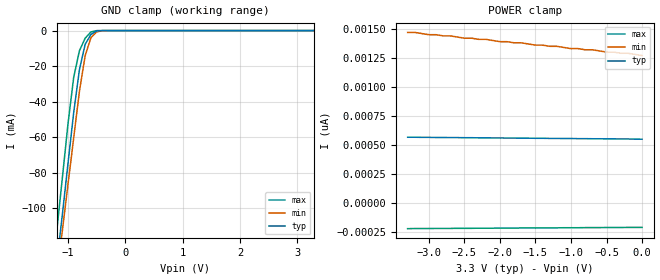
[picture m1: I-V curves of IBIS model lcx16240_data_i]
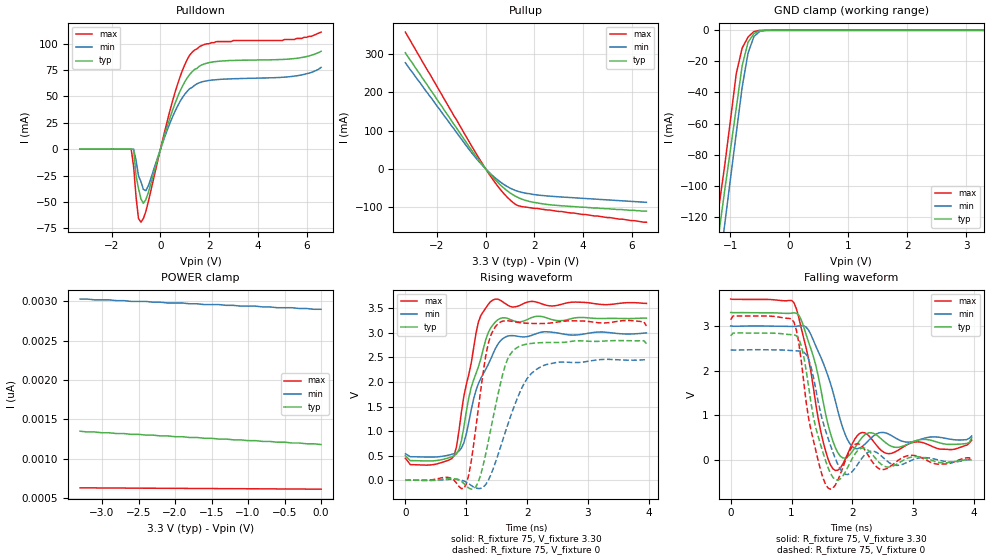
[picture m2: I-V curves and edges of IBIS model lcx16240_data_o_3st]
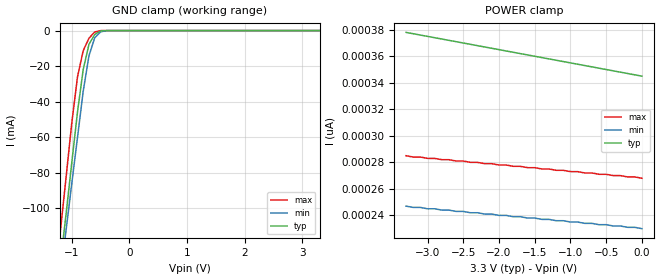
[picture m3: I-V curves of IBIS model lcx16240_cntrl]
|   ON Semiconductor Corporation
|   IBIS Model of 74LCX16240DT
|   Low Voltage CMOS 16-Bit Buffer
|   TSSOP_48 (DT) Package Type
[IBIS Ver]   3.2
[Comment Char]   |_char
[File name]   74lcx16240dt_c300.ibs
[File Rev]   1.0
[Date]   05/26/04
[Source]
From lab measurements at ON Semiconductor
[Notes]
Created by Duane Mattheisen
Modeling Support Engineer
| This model represents the 74LCX16240DT where 3.0<= Vcc =< 3.6
[Disclaimer]
ON Semiconductor Corporation hereby grants
the user of this IBIS model a license to use this IBIS
model under the following terms. This license in non-exclusive
and non-transferable. Before using this IBIS model. After reading
the terms and conditions of this license, the user either must accept
these terms, or the IBIS model should be returned to ON within 30 days.
     The user is hereby granted a license to use the
IBIS model. This shall not be construed as a right to sell, or otherwise
profit either by leasing or renting this software.
     The user may modify the IBIS model to suit his specific applications
but rights to derivative works and such modifications shall belong to
ON Semiconductor.
     This IBIS model is provided on an "as is" basis. ON Semiconductor
makes absolutely no warranty with respect to the information contained
herein. By use of this IBIS model, the user assumes full risk as to the
quality and suitability of the model to his particular use, and by using
this model assumes the entire risk. Under all circumstances the user shall
not hold ON Semiconductor liable in any way for the results obtained. ON
Semiconductor reserves the right to make to improve the model for reliability,
function, or design. ON Semiconductor does not convey any license under patent
rights or any other intellectual property rights, including those of third
parties.
ON Semiconductor is not obligated to provide maintenance or support
for the licensed IBIS model.
Cont ON at ATTN:LOGIC APPLICATIONS/IBIS MODEL.
5005 E. McDowell Road, Phoenix AZ 85008
[Copyright]
(c) 2002 ON Semiconductor Corp.
[Component]   74LCX16240
Si_location Pin
Timing_location Pin
[Manufacturer]   ON Semiconductor Corp.
[Package]
R_pkg   130m   100m   140m
L_pkg   3.06n   1.37n   3.57n
C_pkg   0.15p   0.10p   0.20p
[Pin] signal_name   model_name   R_pin   L_pin   C_pin
1   BarOE1   lcx16240_cntrl   140m   3.56n   .2p
2   BarO0   lcx16240_data_o_3st  130m   3.34n   .15p
3   BarO1   lcx16240_data_o_3st  130m   3.07n   .15p
4   GND   GND   130m   2.62n   .13p
5   BarO2   lcx16240_data_o_3st  120m   2.23n   .1p
6   BarO3   lcx16240_data_o_3st  120m   1.77n   .1p
7   VCC   POWER   110m   1.65n   .1p
8   BarO4   lcx16240_data_o_3st  100m   1.59n   .1p
9   BarO5   lcx16240_data_o_3st  100m   1.53n   .1p
10   GND   GND   100m   1.49n   .1p
11   BarO6   lcx16240_data_o_3st  100m   1.44n   .1p
12   BarO7   lcx16240_data_o_3st  100m   1.36n   .1p
13   BarO8   lcx16240_data_o_3st  100m   1.37n   .1p
14   BarO9   lcx16240_data_o_3st  100m   1.44n   .1p
15   GND   GND   100m   1.48n   .1p
16   BarO10   lcx16240_data_o_3st  100m   1.54n   .1p
17   BarO11   lcx16240_data_o_3st  100m   1.58n   .1p
18   VCC   POWER   110m   1.65n   .1p
19   BarO12   lcx16240_data_o_3st  120m   1.76n   .1p
20   BarO13   lcx16240_data_o_3st  120m   2.22n   .1p
21   GND   GND   130m   2.62n   .12p
22   BarO14   lcx16240_data_o_3st  130m   3.05n   .15p
23   BarO15   lcx16240_data_o_3st  130m   3.34n   .15p
24   BarOE4   lcx16240_cntrl   140m   3.57n   .2p
25   BarOE3   lcx16240_cntrl   140m   3.56n   .2p
26   D15   lcx16240_data_i   130m   3.34n   .25p
27   D14   lcx16240_data_i   130m   3.06n   .15p
28   GND   GND   130m   2.63n   .12p
29   D13   lcx16240_data_i   120m   2.23n   .1p
30   D12   lcx16240_data_i   120m   1.76n   .1p
31   VCC   POWER   110m   1.66n   .1p
32   D11   lcx16240_data_i   100m   1.59n   .1p
33   D10   lcx16240_data_i   100m   1.53n   .1p
34   GND   GND   100m   1.49n   .1p
35   D9   lcx16240_data_i   100m   1.45n   .1p
36   D8   lcx16240_data_i   100m   1.37n   .1p
37   D7   lcx16240_data_i   100m   1.37n   .1p
38   D6   lcx16240_data_i   100m   1.43n   .1p
39   GND   GND   100m   1.49n   .1p
40   D5   lcx16240_data_i   100m   1.54n   .1p
41   D4   lcx16240_data_i   100m   1.58n   .1p
42   VCC   POWER   110m   1.65n   .1p
43   D3   lcx16240_data_i   120m   1.76n   .1p
44   D2   lcx16240_data_i   120m   2.22n   .1p
45   GND   GND   130m   2.62n   .12p
46   D1   lcx16240_data_i   130m   3.05n   .15p
47   D0   lcx16240_data_i   130m   3.34n   .25p
48   BarOE2   lcx16240_cntrl   140m   3.58n   .2p
| Models and submodels in the file (3): lcx16240_data_i (Input), lcx16240_data_o_3st (3-state), lcx16240_cntrl (Input)
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[Model]   lcx16240_data_i
Model_type Input
Vinh=2.0
Vinl=0.8
C_comp   7p   7p   7p
[Temperature Range] 25   85   -40
[Voltage Range]   3.3   3.0   3.6
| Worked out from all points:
|   GND clamp passes 1 mA (typ) near -0.54 V on its own axis
[GND Clamp]
|VIN   IIN   IIN   IIN
-3.3V     -737mA     -689mA     -763mA
-1.2V     -132mA     -139mA     -114mA
-1.1V     -104mA     -113mA     -83.4mA
-1V       -74.8mA    -86.5mA    -52.5mA
-900mV    -46mA      -60.3mA    -26.2mA
-800mV    -21.9mA    -34.1mA    -11.3mA
-700mV    -7.72mA    -14.1mA    -4.29mA
-600mV    -2.18mA    -4.02mA    -769uA
-500mV    -264uA     -735uA     -24.3uA
-400mV    -9.72uA    -53.6uA    -271nA
3.3V      2.02nA     2.24nA     595pA
[POWER Clamp]
| VIN   IIN   IIN   IIN
-3.3V     565pA      1.47nA     -224pA
-2.5V     561pA      1.42nA     -221pA
-2.2V     560pA      1.41nA     -220pA
-2V       559pA      1.39nA     -219pA
-1.7V     557pA      1.38nA     -218pA
-1.5V     556pA      1.36nA     -218pA
-1.2V     555pA      1.35nA     -217pA
-1V       554pA      1.33nA     -216pA
-700mV    552pA      1.32nA     -215pA
-500mV    551pA      1.3nA      -214pA
-200mV    550pA      1.29nA     -213pA
0V        548pA      1.27nA     -213pA
[Model]   lcx16240_data_o_3st
Model_type 3-state
Enable Active-Low
Polarity Inverting
Vref=0
Cref=50p
Rref=500
Vmeas=1.5
C_comp   8p   8p   8p
[Temperature Range] 25   85   -40
[Voltage Range]   3.3   3.0   3.6
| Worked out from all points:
|   slope of the pulldown table from 0 to 0.495 V, typ, clamps not added: 13.5 ohm
|   slope of the pullup table from 0 to 0.495 V, typ, clamps not added: 14 ohm
|   GND clamp passes 1 mA (typ) near -0.54 V on its own axis
|   falling waveform, R_fixture 75, V_fixture 3.30: 20-80 % time 300ps typ, 362ps min, 264ps max; typ from 3.3 V to 0.5 V
|   falling waveform, R_fixture 75, V_fixture 0: 20-80 % time 220ps typ, 260ps min, 197ps max; typ from 2.78 V to 0 V
|   rising waveform, R_fixture 75, V_fixture 3.30: 20-80 % time 337ps typ, 400ps min, 269ps max; typ from 0.5 V to 3.3 V
|   rising waveform, R_fixture 75, V_fixture 0: 20-80 % time 291ps typ, 435ps min, 207ps max; typ from 0 V to 2.78 V
[Pullup]
|VOUT   IOUT   IOUT   IOUT
-3.3V     303mA      277mA      357mA
-700mV    60mA       52mA       73mA
-300mV    24.6mA     20.8mA     30.4mA
100mV     -7.72mA    -6.44mA    -9.74mA
500mV     -35.6mA    -29.2mA    -45.5mA
800mV     -52.9mA    -42.8mA    -68.2mA
1.1V      -66.7mA    -53mA      -86.5mA
1.3V      -73.8mA    -57.9mA    -95.4mA
1.5V      -79.2mA    -61.5mA    -98.5mA
1.9V      -86.3mA    -66.1mA    -102mA
2.5V      -92.5mA    -70.4mA    -107mA
6.6V      -110mA     -87.2mA    -139mA
[Pulldown]
|VOUT   IOUT   IOUT   IOUT
-3.3V     18uA       16uA       15uA
-1.2V     18uA       16uA       15uA
-1.1V     18uA       16uA       -16.6mA
-1V       -25.2mA    -10.7mA    -45.5mA
-900mV    -37.1mA    -25.3mA    -65.7mA
-800mV    -47.1mA    -30.7mA    -69.1mA
-600mV    -47.8mA    -39.2mA    -59.1mA
600mV     43.4mA     36mA       53.9mA
1.3V      73.4mA     58.6mA     91.8mA
2.3V      83.1mA     65.9mA     102mA
5.3V      85.5mA     68.7mA     104mA
6.6V      92.8mA     77.6mA     111mA
[GND Clamp]
|VOUT   IOUT   IOUT   IOUT
-3.3V     -703mA     -778mA     -682mA
-1.3V     -159mA     -185mA     -142mA
-1.2V     -132mA     -155mA     -115mA
-1.1V     -104mA     -126mA     -88mA
-1V       -77.1mA    -95.9mA    -58.2mA
-900mV    -49.9mA    -66.2mA    -27.8mA
-800mV    -22.7mA    -36.5mA    -11.4mA
-700mV    -7.66mA    -14.6mA    -4.29mA
-600mV    -2.08mA    -3.95mA    -732uA
-500mV    -238uA     -705uA     -21.8uA
-400mV    -8.31uA    -50uA      -231nA
3.3V      3.11nA     2.75nA     1.69nA
[POWER Clamp]
|VOUT   IOUT   IOUT   IOUT
-3.3V     1.35nA     3.03nA     630pA
-2.9V     1.33nA     3.02nA     628pA
-2.6V     1.31nA     3nA        626pA
-2.4V     1.3nA      3nA        625pA
-2.1V     1.29nA     2.98nA     624pA
-1.9V     1.28nA     2.98nA     623pA
-1.6V     1.26nA     2.96nA     621pA
-1.4V     1.25nA     2.96nA     620pA
-1.1V     1.24nA     2.94nA     619pA
-900mV    1.23nA     2.94nA     618pA
-600mV    1.21nA     2.92nA     616pA
0V        1.18nA     2.9nA      613pA
[Ramp]
dV/dt_r   1.70E+0/280E-12   1.47E+0/440E-12   1.93E+0/240E-12
dV/dt_f   1.75E+0/320E-12   1.52E+0/360E-12   1.94E+0/240E-12
[Falling Waveform]
R_fixture=75
C_fixture=0p
V_fixture=3.30
V_fixture_min=3.00
V_fixture_max=3.60
|Time   Typ   Min   Max
|SECONDS   VOLTS   VOLTS   VOLTS
0s        3.3V       3V         3.6V
1.04ns    3.292V     2.989V     3.518V
1.28ns    2.638V     2.905V     2.262V
1.52ns    1.305V     2.175V     410.3mV
1.72ns    281.6mV    1.321V     -229.7mV
1.88ns    46.06mV    578.8mV    12.95mV
2.04ns    277.5mV    264.2mV    472.5mV
2.28ns    613.9mV    461.4mV    531.1mV
2.6ns     338.3mV    580.5mV    145.7mV
3.96ns    500mV      540mV      450mV
[Falling Waveform]
R_fixture=75
C_fixture=0p
V_fixture=0
|Time   Typ   Min   Max
|SECONDS   VOLTS   VOLTS   VOLTS
0s        2.78V      2.462V     3.14V
1.04ns    2.801V     2.446V     3.082V
1.16ns    2.558V     2.435V     2.217V
1.28ns    1.646V     2.256V     938mV
1.6ns     -167.6mV   491.5mV    -621.5mV
1.84ns    -358.1mV   -269.2mV   -170.9mV
2.08ns    205.3mV    -105.8mV   370.3mV
2.48ns    -98.6mV    88.78mV    -209.7mV
2.96ns    66.3mV     -9.152mV   110.6mV
3.96ns    0V         0V         0V
[Rising Waveform]
R_fixture=75
C_fixture=0p
V_fixture=3.30
V_fixture_min=3.00
V_fixture_max=3.60
|Time   Typ   Min   Max
|SECONDS   VOLTS   VOLTS   VOLTS
0s        500mV      540mV      450mV
400ps     394.1mV    473.4mV    311.5mV
800ps     498.1mV    543.4mV    504.2mV
880ps     621.4mV    594.9mV    1.004V
960ps     1.076V     760.2mV    1.704V
1.08ns    1.882V     1.423V     2.375V
1.2ns     2.31V      1.968V     3.222V
1.44ns    3.167V     2.576V     3.671V
1.72ns    3.274V     2.944V     3.54V
3.96ns    3.3V       3V         3.6V
[Rising Waveform]
R_fixture=75
C_fixture=0p
V_fixture=0
|Time   Typ   Min   Max
|SECONDS   VOLTS   VOLTS   VOLTS
0s        0V         0V         0V
720ps     35.65mV    18.62mV    54.38mV
960ps     -64.64mV   -13.04mV   -166.4mV
1.08ns    -180.4mV   -103.9mV   373.8mV
1.2ns     -27.57mV   -168.5mV   1.473V
1.36ns    775.3mV    -5.044mV   2.777V
1.56ns    1.96V      665.8mV    3.22V
1.76ns    2.624V     1.412V     3.233V
2.2ns     2.799V     2.293V     3.19V
3.96ns    2.78V      2.456V     3.14V
[Model]   lcx16240_cntrl
Model_type Input
Vinh=2.0
Vinl=0.8
C_comp   7p   7p   7p
[Temperature Range] 25   85   -40
[Voltage Range]   3.3   3.0   3.6
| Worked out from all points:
|   GND clamp passes 1 mA (typ) near -0.54 V on its own axis
[GND Clamp]
|VIN   IIN   IIN   IIN
-3.3V     -737mA     -689mA     -763mA
-1.2V     -132mA     -139mA     -114mA
-1.1V     -104mA     -113mA     -83.4mA
-1V       -74.8mA    -86.5mA    -52.5mA
-900mV    -46mA      -60.3mA    -26.2mA
-800mV    -21.9mA    -34.1mA    -11.3mA
-700mV    -7.72mA    -14.1mA    -4.29mA
-600mV    -2.18mA    -4.02mA    -769uA
-500mV    -264uA     -735uA     -24.3uA
-400mV    -9.72uA    -53.6uA    -271nA
3.3V      202pA      468pA      4.33nA
[POWER Clamp]
|VIN   IIN   IIN   IIN
-3.3V     378pA      247pA      285pA
-3.2V     377pA      246pA      284pA
-3.1V     376pA      246pA      284pA
-3V       375pA      245pA      283pA
-2.9V     374pA      245pA      283pA
-2.8V     373pA      244pA      282pA
-2.7V     372pA      244pA      282pA
-2.6V     371pA      243pA      281pA
-1.7V     362pA      239pA      277pA
-1.6V     361pA      238pA      276pA
-500mV    350pA      233pA      271pA
0V        345pA      230pA      268pA
